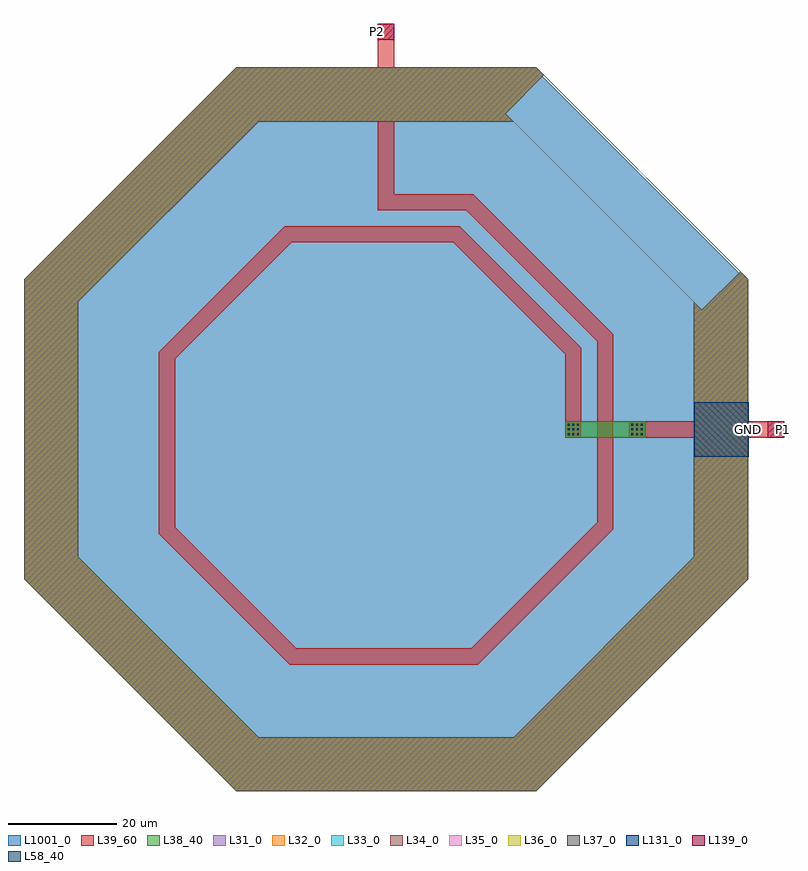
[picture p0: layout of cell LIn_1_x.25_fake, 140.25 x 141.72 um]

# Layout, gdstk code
import gdstk
lib = gdstk.Library(unit=1e-6, precision=1e-09)
def R(c, l, rs):  # rectangles x0, y0, x1, y1
    for r in rs: c.add(gdstk.rectangle(r[:2], r[2:], *l))
def A(c, l, x, y, w, h, nx, ny, dx, dy):  # array of equal rectangles
    R(c, l, [(x+i*dx, y+j*dy, x+i*dx+w, y+j*dy+h) for i in range(nx) for j in range(ny)])
def P(c, l, *ps):  # polygons
    for p in ps: c.add(gdstk.Polygon(p, *l))
L31_0 = (31, 0)
L32_0 = (32, 0)
L33_0 = (33, 0)
L34_0 = (34, 0)
L35_0 = (35, 0)
L36_0 = (36, 0)
L37_0 = (37, 0)
L38_40 = (38, 40)
L39_60 = (39, 60)
L58_40 = (58, 40)
L131_0 = (131, 0)
L139_0 = (139, 0)
L1001_0 = (1001, 0)

lin_1_x_25_fake = lib.new_cell('LIn_1_x.25_fake')
P(lin_1_x_25_fake, L31_0, [(58.278,22.068),(65.349,29.139),(27.675,66.813),(-27.675,66.813),(-66.813,27.675),(-66.813,-27.675),(-27.675,-66.813),(27.675,-66.813),(66.813,-27.675),(66.813,27.675),(29.139,65.349),(22.068,58.278),(56.813,23.533),(56.813,-23.533),(23.533,-56.813),(-23.533,-56.813),(-56.813,-23.533),(-56.813,23.533),(-23.533,56.813),(23.533,56.813)])
P(lin_1_x_25_fake, L32_0, [(58.278,22.068),(65.349,29.139),(27.675,66.813),(-27.675,66.813),(-66.813,27.675),(-66.813,-27.675),(-27.675,-66.813),(27.675,-66.813),(66.813,-27.675),(66.813,27.675),(29.139,65.349),(22.068,58.278),(56.813,23.533),(56.813,-23.533),(23.533,-56.813),(-23.533,-56.813),(-56.813,-23.533),(-56.813,23.533),(-23.533,56.813),(23.533,56.813)])
P(lin_1_x_25_fake, L33_0, [(58.278,22.068),(65.349,29.139),(27.675,66.813),(-27.675,66.813),(-66.813,27.675),(-66.813,-27.675),(-27.675,-66.813),(27.675,-66.813),(66.813,-27.675),(66.813,27.675),(29.139,65.349),(22.068,58.278),(56.813,23.533),(56.813,-23.533),(23.533,-56.813),(-23.533,-56.813),(-56.813,-23.533),(-56.813,23.533),(-23.533,56.813),(23.533,56.813)])
P(lin_1_x_25_fake, L34_0, [(58.278,22.068),(65.349,29.139),(27.675,66.813),(-27.675,66.813),(-66.813,27.675),(-66.813,-27.675),(-27.675,-66.813),(27.675,-66.813),(66.813,-27.675),(66.813,27.675),(29.139,65.349),(22.068,58.278),(56.813,23.533),(56.813,-23.533),(23.533,-56.813),(-23.533,-56.813),(-56.813,-23.533),(-56.813,23.533),(-23.533,56.813),(23.533,56.813)])
P(lin_1_x_25_fake, L35_0, [(58.278,22.068),(65.349,29.139),(27.675,66.813),(-27.675,66.813),(-66.813,27.675),(-66.813,-27.675),(-27.675,-66.813),(27.675,-66.813),(66.813,-27.675),(66.813,27.675),(29.139,65.349),(22.068,58.278),(56.813,23.533),(56.813,-23.533),(23.533,-56.813),(-23.533,-56.813),(-56.813,-23.533),(-56.813,23.533),(-23.533,56.813),(23.533,56.813)])
P(lin_1_x_25_fake, L36_0, [(58.278,22.068),(65.349,29.139),(27.675,66.813),(-27.675,66.813),(-66.813,27.675),(-66.813,-27.675),(-27.675,-66.813),(27.675,-66.813),(66.813,-27.675),(66.813,27.675),(29.139,65.349),(22.068,58.278),(56.813,23.533),(56.813,-23.533),(23.533,-56.813),(-23.533,-56.813),(-56.813,-23.533),(-56.813,23.533),(-23.533,56.813),(23.533,56.813)])
P(lin_1_x_25_fake, L37_0, [(58.278,22.068),(65.349,29.139),(27.675,66.813),(-27.675,66.813),(-66.813,27.675),(-66.813,-27.675),(-27.675,-66.813),(27.675,-66.813),(66.813,-27.675),(66.813,27.675),(29.139,65.349),(22.068,58.278),(56.813,23.533),(56.813,-23.533),(23.533,-56.813),(-23.533,-56.813),(-56.813,-23.533),(-56.813,23.533),(-23.533,56.813),(23.533,56.813)])
R(lin_1_x_25_fake, L38_40, [(33.065,-1.5,47.815,1.5)])
P(lin_1_x_25_fake, L38_40, [(58.278,22.068),(65.349,29.139),(27.675,66.813),(-27.675,66.813),(-66.813,27.675),(-66.813,-27.675),(-27.675,-66.813),(27.675,-66.813),(66.813,-27.675),(66.813,27.675),(29.139,65.349),(22.068,58.278),(56.813,23.533),(56.813,-23.533),(23.533,-56.813),(-23.533,-56.813),(-56.813,-23.533),(-56.813,23.533),(-23.533,56.813),(23.533,56.813)])
R(lin_1_x_25_fake, L39_60, [(44.815,-1.5,73.44,1.5), (-1.5,40.405,1.5,74.905)])
P(lin_1_x_25_fake, L39_60, [(33.065,-1.5),(36.065,-1.5),(36.065,15.116),(13.646,37.53),(-18.661,37.53),(-41.94,14.256),(-41.94,-19.271),(-17.801,-43.405),(16.941,-43.405),(41.94,-18.411),(41.94,17.551),(16.081,43.405),(0,43.405),(0,40.405),(14.839,40.405),(38.94,16.309),(38.94,-17.169),(15.699,-40.405),(-16.559,-40.405),(-38.94,-18.029),(-38.94,13.014),(-17.419,34.53),(12.404,34.53),(33.065,13.874)],
  [(58.278,22.068),(65.349,29.139),(27.675,66.813),(-27.675,66.813),(-66.813,27.675),(-66.813,-27.675),(-27.675,-66.813),(27.675,-66.813),(66.813,-27.675),(66.813,27.675),(29.139,65.349),(22.068,58.278),(56.813,23.533),(56.813,-23.533),(23.533,-56.813),(-23.533,-56.813),(-56.813,-23.533),(-56.813,23.533),(-23.533,56.813),(23.533,56.813)])
A(lin_1_x_25_fake, L58_40, 33.518, -1.045, 0.35, 0.35, 3, 3, 0.87, 0.87)
A(lin_1_x_25_fake, L58_40, 45.268, -1.045, 0.35, 0.35, 3, 3, 0.87, 0.87)
R(lin_1_x_25_fake, L131_0, [(56.905,-5,66.905,5)])
R(lin_1_x_25_fake, L139_0, [(70.44,-1.5,73.44,1.5), (-1.5,71.905,1.5,74.905)])
P(lin_1_x_25_fake, L1001_0, [(66.433,27.517),(27.517,66.433),(-27.517,66.433),(-66.433,27.517),(-66.433,-27.517),(-27.517,-66.433),(27.517,-66.433),(66.433,-27.517)],
  [(66.433,27.517),(27.517,66.433),(-27.517,66.433),(-66.433,27.517),(-66.433,-27.517),(-27.517,-66.433),(27.517,-66.433),(66.433,-27.517)],
  [(66.433,27.517),(27.517,66.433),(-27.517,66.433),(-66.433,27.517),(-66.433,-27.517),(-27.517,-66.433),(27.517,-66.433),(66.433,-27.517)],
  [(66.433,27.517),(27.517,66.433),(-27.517,66.433),(-66.433,27.517),(-66.433,-27.517),(-27.517,-66.433),(27.517,-66.433),(66.433,-27.517)],
  [(66.433,27.517),(27.517,66.433),(-27.517,66.433),(-66.433,27.517),(-66.433,-27.517),(-27.517,-66.433),(27.517,-66.433),(66.433,-27.517)],
  [(66.433,27.517),(27.517,66.433),(-27.517,66.433),(-66.433,27.517),(-66.433,-27.517),(-27.517,-66.433),(27.517,-66.433),(66.433,-27.517)],
  [(66.433,27.517),(27.517,66.433),(-27.517,66.433),(-66.433,27.517),(-66.433,-27.517),(-27.517,-66.433),(27.517,-66.433),(66.433,-27.517)],
  [(66.433,27.517),(27.517,66.433),(-27.517,66.433),(-66.433,27.517),(-66.433,-27.517),(-27.517,-66.433),(27.517,-66.433),(66.433,-27.517)],
  [(66.433,27.517),(27.517,66.433),(-27.517,66.433),(-66.433,27.517),(-66.433,-27.517),(-27.517,-66.433),(27.517,-66.433),(66.433,-27.517)])
lin_1_x_25_fake.add(gdstk.Label('P1', (73.438,0), layer=139, texttype=0))
lin_1_x_25_fake.add(gdstk.Label('P2', (-1.5,73.406), layer=139, texttype=0))
lin_1_x_25_fake.add(gdstk.Label('GND', (66.906,0), layer=131, texttype=0))

lib.write_gds('LIn_1_x.25_fake.gds')
